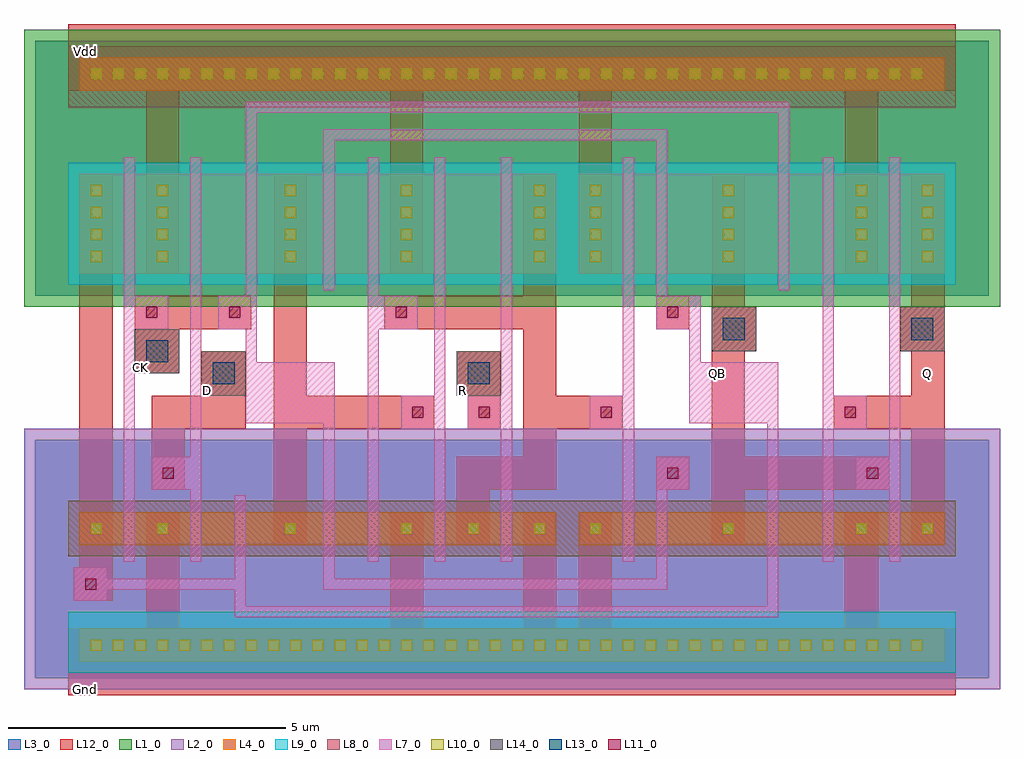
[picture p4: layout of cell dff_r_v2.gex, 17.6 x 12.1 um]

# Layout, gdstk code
import gdstk
lib = gdstk.Library(unit=1e-6, precision=1e-09)
def R(c, l, rs):  # rectangles x0, y0, x1, y1
    for r in rs: c.add(gdstk.rectangle(r[:2], r[2:], *l))
def A(c, l, x, y, w, h, nx, ny, dx, dy):  # array of equal rectangles
    R(c, l, [(x+i*dx, y+j*dy, x+i*dx+w, y+j*dy+h) for i in range(nx) for j in range(ny)])
L1_0 = (1, 0)
L2_0 = (2, 0)
L3_0 = (3, 0)
L4_0 = (4, 0)
L7_0 = (7, 0)
L8_0 = (8, 0)
L9_0 = (9, 0)
L10_0 = (10, 0)
L11_0 = (11, 0)
L12_0 = (12, 0)
L13_0 = (13, 0)
L14_0 = (14, 0)

dff_r_v2_gex = lib.new_cell('dff_r_v2.gex')
R(dff_r_v2_gex, L1_0, [(-0.8,7,16.8,12)])
R(dff_r_v2_gex, L2_0, [(-0.8,0.1,16.8,4.8)])
R(dff_r_v2_gex, L3_0, [(-0.6,0.3,16.6,4.6), (-0.6,7.2,16.6,11.8)])
R(dff_r_v2_gex, L4_0, [(0.2,0.6,15.8,1.2), (0.2,2.7,8.8,3.3), (9.2,2.7,15.8,3.3), (0.2,7.6,8.8,9.4), (9.2,7.6,15.8,9.4), (0.2,10.9,15.8,11.5)])
A(dff_r_v2_gex, L7_0, 5.4, 2.4, 0.2, 7.3, 3, 1, 1.2, 0)
R(dff_r_v2_gex, L7_0, [(3,1.4,3.2,2.1), (3.2,1.4,12.6,1.6), (12.6,1.4,12.8,2.5), (0.1,1.7,0.7,2.3), (0.7,1.9,3,2.1), (4.6,1.9,4.8,4.9), (4.8,1.9,10.6,2.1), (10.6,1.9,10.8,2.5), (3,2.1,3.2,3.6), (1,2.4,1.2,9.7), (2.2,2.4,2.4,9.7), (10,2.4,10.2,9.7), (13.6,2.4,13.8,9.7), (14.8,2.4,15,9.7), (10.6,2.5,10.8,3.7), (12.6,2.5,12.8,4.9), (1.5,3.7,2.1,4.3), (2.1,3.7,2.2,4.3), (10.6,3.7,11.2,4.3), (14.2,3.7,14.8,4.3), (6,4.8,6.6,5.4), (7.2,4.8,7.8,5.4), (9.4,4.8,10,5.4), (13.8,4.8,14.4,5.4), (3.2,4.9,4.8,6), (11.2,4.9,12.8,6), (3.2,6,3.4,10.5), (11.2,6,11.4,7.2), (1.2,6.6,1.8,7.2), (2.7,6.6,3.3,7.2), (5.5,6.6,5.7,7.2), (5.7,6.6,6.3,7.2), (10.6,6.6,11.2,7.2), (10.6,7.2,10.8,9.6), (4.6,7.3,4.8,10.2), (12.8,7.3,13,10.7), (10.6,9.6,10.8,10.2), (4.8,10,10.6,10.2), (3.2,10.5,12.8,10.7)])
R(dff_r_v2_gex, L8_0, [(0,2.5,16,3.5), (0,10.6,16,11.7)])
R(dff_r_v2_gex, L9_0, [(0,0.4,16,1.5), (0,7.4,16,9.6)])
A(dff_r_v2_gex, L10_0, 0.4, 0.8, 0.2, 0.2, 38, 2, 0.4, 10.3)
A(dff_r_v2_gex, L10_0, 6, 2.9, 0.2, 0.2, 3, 1, 1.2, 0)
A(dff_r_v2_gex, L10_0, 9.4, 2.9, 0.2, 0.2, 3, 2, 2.4, 4.9)
A(dff_r_v2_gex, L10_0, 0.4, 7.8, 0.2, 0.2, 1, 4, 0, 0.4)
A(dff_r_v2_gex, L10_0, 1.6, 7.8, 0.2, 0.2, 1, 4, 0, 0.4)
A(dff_r_v2_gex, L10_0, 3.9, 7.8, 0.2, 0.2, 1, 4, 0, 0.4)
A(dff_r_v2_gex, L10_0, 6, 7.8, 0.2, 0.2, 1, 4, 0, 0.4)
A(dff_r_v2_gex, L10_0, 8.4, 7.8, 0.2, 0.2, 1, 4, 0, 0.4)
A(dff_r_v2_gex, L10_0, 15.4, 7.8, 0.2, 0.2, 1, 4, 0, 0.4)
A(dff_r_v2_gex, L10_0, 9.4, 8.2, 0.2, 0.2, 3, 3, 2.4, 0.4)
R(dff_r_v2_gex, L10_0, [(0.4,2.9,0.6,3.1), (1.6,2.9,1.8,3.1), (3.9,2.9,4.1,3.1), (15.4,2.9,15.6,3.1)])
R(dff_r_v2_gex, L11_0, [(0.3,1.9,0.5,2.1), (1.7,3.9,1.9,4.1), (10.8,3.9,11,4.1), (14.4,3.9,14.6,4.1), (6.2,5,6.4,5.2), (7.4,5,7.6,5.2), (9.6,5,9.8,5.2), (14,5,14.2,5.2), (1.4,6.8,1.6,7), (2.9,6.8,3.1,7), (5.9,6.8,6.1,7), (10.8,6.8,11,7)])
R(dff_r_v2_gex, L12_0, [(0,0,16,1.2), (5.8,0.6,6.4,3.3), (8.2,0.6,8.8,3.3), (9.2,0.6,9.8,3.3), (14,0.6,14.6,3.3), (1.4,1.2,2,3.3), (0.1,1.7,0.7,2.3), (0.2,1.7,0.8,2.7), (0.2,2.7,0.8,3.3), (3.7,2.7,4.3,9.4), (7,2.7,7.6,3.7), (11.6,2.7,12.2,9.4), (15.2,2.7,15.8,9.4), (0.2,3.3,0.8,9.4), (1.5,3.7,2.1,4.3), (7,3.7,8.2,4.3), (8.2,3.7,8.8,7.2), (10.6,3.7,11.2,4.3), (12.2,3.7,14.2,4.3), (14.2,3.7,14.8,4.3), (1.5,4.3,2.1,4.8), (1.5,4.8,3.2,5.4), (4.2,4.8,6,5.4), (6,4.8,6.6,5.4), (7.2,4.8,7.8,5.4), (8.8,4.8,9.4,5.4), (9.4,4.8,10,5.4), (13.8,4.8,14.4,5.4), (14.4,4.8,15.2,5.4), (2.4,5.4,3.2,6.2), (7,5.4,7.8,6.2), (1.2,5.8,2,6.6), (11.6,6.2,12.4,7), (15,6.2,15.8,7), (1.2,6.6,1.8,7.2), (1.8,6.6,2.7,7.2), (2.7,6.6,3.3,7.2), (5.7,6.6,6.3,7.2), (6.3,6.6,8.2,7.2), (10.6,6.6,11.2,7.2), (8.2,7.2,8.8,9.4), (1.4,7.6,2,8.2), (1.4,7.6,2,11.5), (5.8,7.6,6.4,11.5), (9.2,7.6,9.8,11.5), (14,7.6,14.6,11.5), (0,10.9,16,12.1)])
R(dff_r_v2_gex, L13_0, [(2.6,5.6,3,6), (7.2,5.6,7.6,6), (1.4,6,1.8,6.4), (11.8,6.4,12.2,6.8), (15.2,6.4,15.6,6.8)])
R(dff_r_v2_gex, L14_0, [(2.4,5.4,3.2,6.2), (7,5.4,7.8,6.2), (1.2,5.8,2,6.6), (11.6,6.2,12.4,7), (15,6.2,15.8,7)])
dff_r_v2_gex.add(gdstk.Label('R', (7.1,5.5), layer=12, texttype=0))
dff_r_v2_gex.add(gdstk.Label('D', (2.5,5.5), layer=12, texttype=0))
dff_r_v2_gex.add(gdstk.Label('CK', (1.3,5.9), layer=12, texttype=0))
dff_r_v2_gex.add(gdstk.Label('Q', (15.5,5.8), layer=12, texttype=0))
dff_r_v2_gex.add(gdstk.Label('QB', (11.7,5.8), layer=12, texttype=0))
dff_r_v2_gex.add(gdstk.Label('Vdd', (0.3,11.6), layer=12, texttype=0))
dff_r_v2_gex.add(gdstk.Label('Gnd', (0.3,0.1), layer=12, texttype=0))

lib.write_gds('dff_r_v2.gex.gds')
